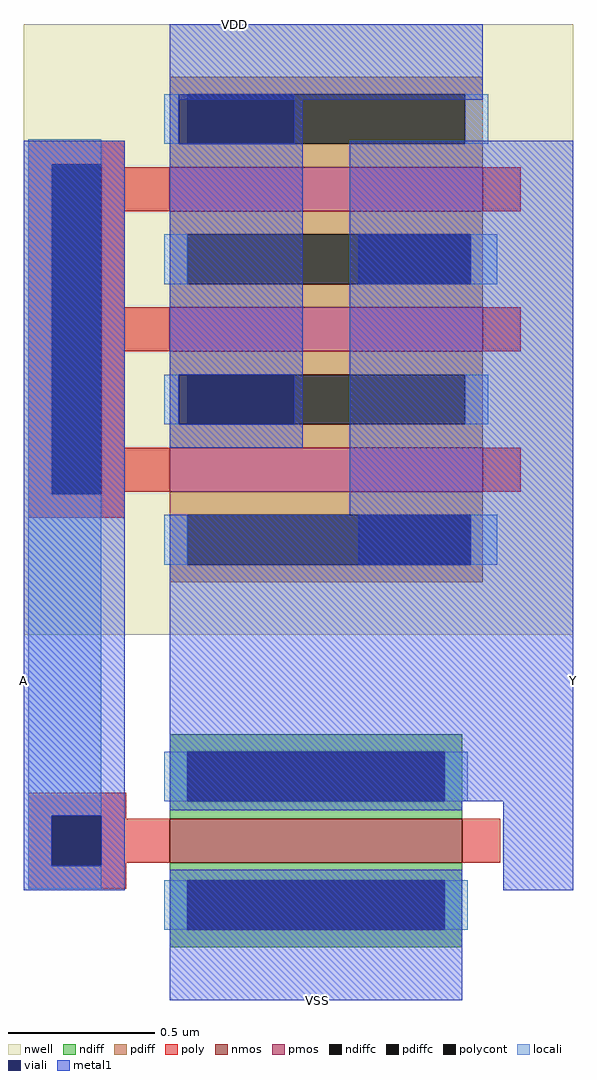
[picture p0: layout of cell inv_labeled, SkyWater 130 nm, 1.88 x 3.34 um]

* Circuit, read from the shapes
.subckt inv_labeled VDD A Y VSS
XM1 Y A VSS VSUBS sky130_fd_pr__nfet_01v8 w=1 l=0.15
XM2 VDD A Y n1 sky130_fd_pr__pfet_01v8 w=1.07 l=0.15 m=3
.ends

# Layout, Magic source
magic
tech sky130B
magscale 1 2
<< nwell >>
rect 0 366 376 418
rect 101 347 104 366
rect 223 290 343 338
rect 326 288 343 290
<< poly >>
rect 3 -124 70 -108
rect 3 -158 19 -124
rect 53 -126 70 -124
rect 53 -156 75 -126
rect 53 -158 70 -156
rect 3 -174 70 -158
<< polycont >>
rect 19 -158 53 -124
<< locali >>
rect 3 -124 53 339
rect 3 -158 19 -124
rect 3 -174 53 -158
<< viali >>
rect 19 -158 53 -124
<< metal1 >>
rect 100 366 314 418
rect 101 347 104 366
rect 0 80 53 338
rect 223 82 376 338
rect 0 -124 69 80
rect 100 -114 376 82
rect 0 -158 19 -124
rect 53 -158 69 -124
rect 0 -175 69 -158
rect 100 -250 300 -161
rect 328 -175 376 -114
use efepmos_W107-L15-F3  efepmos_W107-L15-F3_0
transform 0 1 207 -1 0 209
box -209 -207 209 169
use sky130_fd_pr__nfet_01v8_6H9P4D  sky130_fd_pr__nfet_01v8_6H9P4D_0
transform 0 1 200 -1 0 -141
box -73 -126 73 126
<< labels >>
rlabel metal1 376 -31 376 -31 3 Y
port 3 e
rlabel metal1 0 -31 0 -31 7 A
port 2 e
rlabel metal1 144 418 144 418 1 VDD
port 1 n
rlabel metal1 201 -250 201 -250 5 VSS
port 4 s
<< end >>

# cell efepmos_W107-L15-F3: kit device sky130_fd_pr__pfet_01v8, w 1.07 l 0.15 m 1 nf 3 diffcov 100 polycov 100 guard 0 glc 1 grc 1 gtc 1 gbc 1 tbcov 100 rlcov 100 topc 0 botc 0 poverlap 0 doverlap 1 lmin 0.15 wmin 0.42 compatible {sky130_fd_pr__pfet_01v8 sky130_fd_pr__pfet_01v8_lvt sky130_fd_pr__pfet_01v8_hvt sky130_fd_pr__pfet_g5v0d10v5} full_metal 1 viasrc 100 viadrn 100 viagate 100 viagb 0 viagr 0 viagl 0 viagt 0

# cell sky130_fd_pr__nfet_01v8_6H9P4D: kit device sky130_fd_pr__nfet_01v8, w 1 l 0.150 m 1 nf 1 diffcov 100 polycov 100 guard 0 glc 1 grc 1 gtc 1 gbc 1 tbcov 100 rlcov 100 topc 0 botc 0 poverlap 0 doverlap 1 lmin 0.15 wmin 0.42 compatible {sky130_fd_pr__nfet_01v8 sky130_fd_pr__nfet_01v8_lvt sky130_fd_bs_flash__special_sonosfet_star sky130_fd_pr__nfet_g5v0d10v5 sky130_fd_pr__nfet_05v0_nvt sky130_fd_pr__nfet_03v3_nvt} full_metal 1 viasrc 100 viadrn 100 viagate 100 viagb 0 viagr 0 viagl 0 viagt 0
